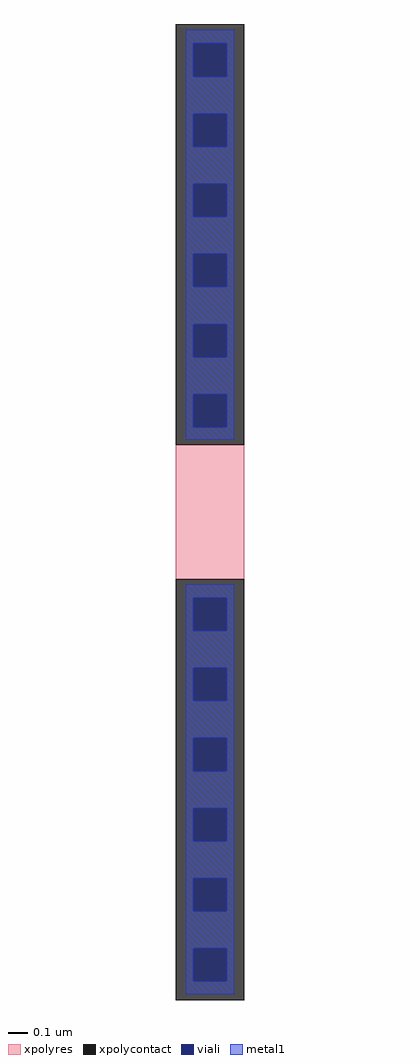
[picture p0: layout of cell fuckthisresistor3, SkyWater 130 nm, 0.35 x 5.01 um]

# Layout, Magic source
magic
tech sky130A
magscale 1 2
<< xpolycontact >>
rect -512 69 -442 501
rect -512 -501 -442 -69
<< xpolyres >>
rect -512 -69 -442 69
<< viali >>
rect -494 447 -460 481
rect -494 375 -460 409
rect -494 303 -460 337
rect -494 231 -460 265
rect -494 159 -460 193
rect -494 87 -460 121
rect -494 -122 -460 -88
rect -494 -194 -460 -160
rect -494 -266 -460 -232
rect -494 -338 -460 -304
rect -494 -410 -460 -376
rect -494 -482 -460 -448
<< metal1 >>
rect -502 481 -452 495
rect -502 447 -494 481
rect -460 447 -452 481
rect -502 409 -452 447
rect -502 375 -494 409
rect -460 375 -452 409
rect -502 337 -452 375
rect -502 303 -494 337
rect -460 303 -452 337
rect -502 265 -452 303
rect -502 231 -494 265
rect -460 231 -452 265
rect -502 193 -452 231
rect -502 159 -494 193
rect -460 159 -452 193
rect -502 121 -452 159
rect -502 87 -494 121
rect -460 87 -452 121
rect -502 74 -452 87
rect -502 -88 -452 -74
rect -502 -122 -494 -88
rect -460 -122 -452 -88
rect -502 -160 -452 -122
rect -502 -194 -494 -160
rect -460 -194 -452 -160
rect -502 -232 -452 -194
rect -502 -266 -494 -232
rect -460 -266 -452 -232
rect -502 -304 -452 -266
rect -502 -338 -494 -304
rect -460 -338 -452 -304
rect -502 -376 -452 -338
rect -502 -410 -494 -376
rect -460 -410 -452 -376
rect -502 -448 -452 -410
rect -502 -482 -494 -448
rect -460 -482 -452 -448
rect -502 -495 -452 -482
<< end >>
